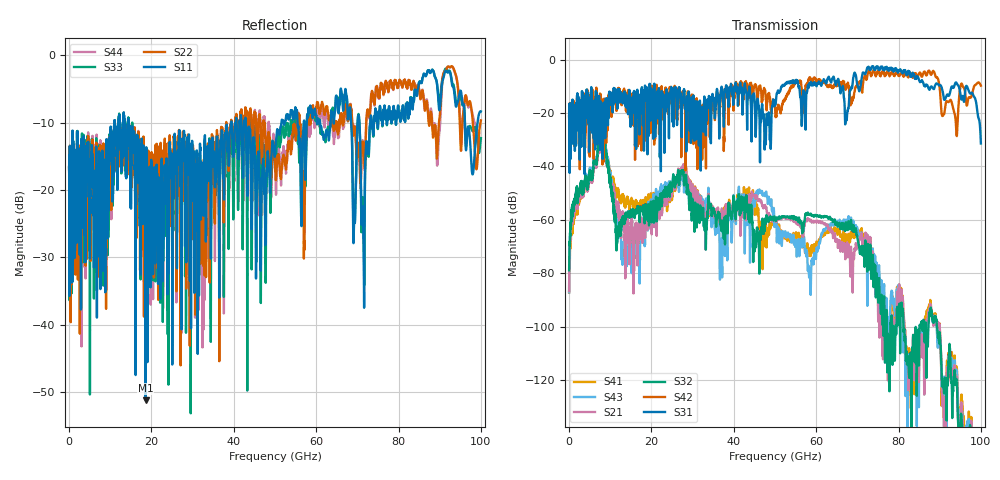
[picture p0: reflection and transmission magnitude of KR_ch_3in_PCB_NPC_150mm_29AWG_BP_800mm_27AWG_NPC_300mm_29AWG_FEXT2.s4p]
# GHz S RI R 45
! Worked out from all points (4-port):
!   4000 points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, 25 MHz to 100 GHz, reference 45 ohm
!   strongest paths, dB at 25 MHz, 25.02 GHz, 50.02 GHz, 75.03 GHz, 100 GHz:
!     S31: -21.2, -17.2, -16.7, -3.0, -31.4
!     S42: -21.3, -17.5, -18.0, -4.3, -9.8
!     S32: -78.9, -47.3, -59.8, -88.4, -145.9
!     S21: -86.7, -49.4, -60.3, -95.6, -148.3
!     S43: -87.1, -46.8, -59.5, -82.1, -139.6
!     S41: -87.2, -51.8, -60.3, -85.0, -139.7
!   lowest |S11| = -51.2 dB at 18.6 GHz (marker M1), VSWR 1.01, Z = 44.8 - j0.167 ohm
!   |S11| at or under -10 dB: start of sweep to 11.02 GHz; 14.46 GHz to 39.36 GHz (24.91 GHz wide, 92.6 % of centre); 42.94 GHz to 51.57 GHz (8.636 GHz wide, 18.3 % of centre) (the widest 3 of 37)
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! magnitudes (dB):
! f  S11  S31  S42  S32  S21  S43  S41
! 25 MHz  -16.6  -21.2  -21.3  -78.9  -86.7  -87.1  -87.2
! 8.075 GHz  -15.2  -21.1  -21.6  -26.5  -28.6  -25.2  -27.3
! 13.15 GHz  -10.2  -13.5  -11.8  -60.0  -58.0  -71.5  -51.2
! 18.6 GHz  -51.2  -14.8  -21.1  -54.1  -55.6  -56.6  -51.8
! 27.62 GHz  -13.0  -14.6  -11.8  -42.9  -41.5  -45.3  -42.2
! 77.1 GHz  -9.6  -2.7  -5.1  -95.1  -104.2  -90.7  -95.1
! 100 GHz  -8.3  -31.4  -9.8  -145.9  -148.3  -139.6  -139.7
